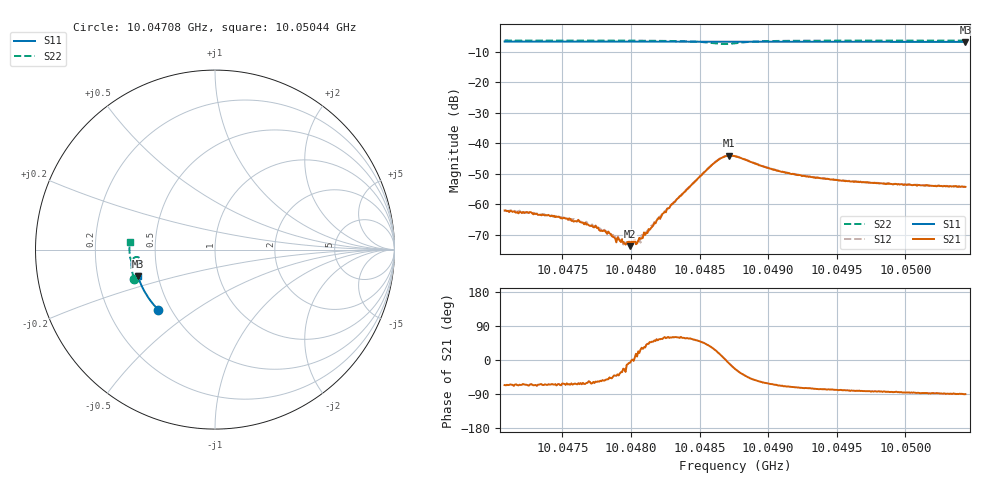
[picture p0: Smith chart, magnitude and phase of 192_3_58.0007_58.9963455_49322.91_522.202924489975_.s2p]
#  HZ  S  RI  R  50.00
! Rohde & Schwarz Vector Network Analyzer
! Rohde-Schwarz,ZNB20-2Port,1311601062101988,3.16
! Created: UTC 3/21/2024, 12:58:53 AM
! freq[Hz]  re:S11  im:S11  re:S21  im:S21  re:S12  im:S12  re:S22  im:S22
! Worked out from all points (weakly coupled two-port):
!   401 points, 10.04708 GHz to 10.05044 GHz, reference 50 ohm
!   highest |S21| = -44.05 dB at 10.04872 GHz (marker M1); lowest = -73.6 dB at 10.04799 GHz (marker M2)
!   lowest |S11| = -6.8 dB at 10.05044 GHz (marker M3), VSWR 2.67, Z = 19.2 - j7.09 ohm
!   |S11| at or under -10 dB: nowhere
!   |S22| runs from -7.6 to -6.4 dB; largest |S21 - S12| = 0.00042
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1.0047079e10  -0.3165 -0.3343  0.000322 -0.000729  0.000376 -0.000707  -0.4509 -0.1627
1.0047255e10  -0.3248 -0.3259  0.000275 -0.000673  0.000351 -0.000646  -0.4546 -0.151
1.0047457e10  -0.3338 -0.3161  0.000247 -0.000585  0.000321 -0.000572  -0.4583 -0.1373
1.0047641e10  -0.3419 -0.3068  0.000222 -0.000456  0.00028 -0.000458  -0.4614 -0.1245
1.0047818e10  -0.3493 -0.2976  0.000219 -0.000277  0.000243 -0.000273  -0.4638 -0.1115
1.0047851e10  -0.3507 -0.296  0.000222 -0.000242  0.000235 -0.000235  -0.4643 -0.1089
1.0047876e10  -0.3516 -0.2946  0.00022 -0.000189  0.000227 -0.000203  -0.4645 -0.107
1.0047918e10  -0.3534 -0.2924  0.000209 -0.000151  0.000232 -0.000125  -0.4649 -0.1036
1.0047944e10  -0.3544 -0.2911  0.000219 -9.18e-05  0.000205 -8.44e-05  -0.4652 -0.1017
1.0047994e10  -0.3564 -0.2884  0.000207 -2.58e-05  0.000257 -1.77e-05  -0.4656 -0.0977
1.0048053e10  -0.3586 -0.2854  0.000235 9.76e-05  0.00023 0.000105  -0.466 -0.0928
1.0048111e10  -0.3612 -0.2822  0.000266 0.000224  0.00025 0.000248  -0.4663 -0.0878
1.0048204e10  -0.3647 -0.2774  0.000353 0.000501  0.000338 0.000515  -0.4661 -0.0794
1.004859e10  -0.3786 -0.2559  0.00374 0.00238  0.0036 0.00263  -0.4336 -0.041
1.0048657e10  -0.3809 -0.2522  0.00561 0.0012  0.00558 0.00156  -0.4178 -0.0509
1.0048716e10  -0.3826 -0.2491  0.00619 -0.00102  0.00631 -0.000625  -0.4159 -0.0695
1.0048758e10  -0.3841 -0.2472  0.00564 -0.00244  0.00582 -0.00209  -0.4233 -0.0796
1.0049052e10  -0.3943 -0.2304  0.00152 -0.00334  0.00175 -0.00325  -0.4662 -0.0632
1.004932e10  -0.4026 -0.2147  0.000721 -0.00271  0.000866 -0.00266  -0.4738 -0.0383
1.0049547e10  -0.4091 -0.2012  0.000432 -0.00241  0.000597 -0.00242  -0.4759 -0.0204
1.0049883e10  -0.4178 -0.181  0.000208 -0.00219  0.000357 -0.00216  -0.4766 0.00429
1.0050437e10  -0.4302 -0.1466  -2.01e-06 -0.00194  0.000104 -0.00194  -0.4746 0.0428
